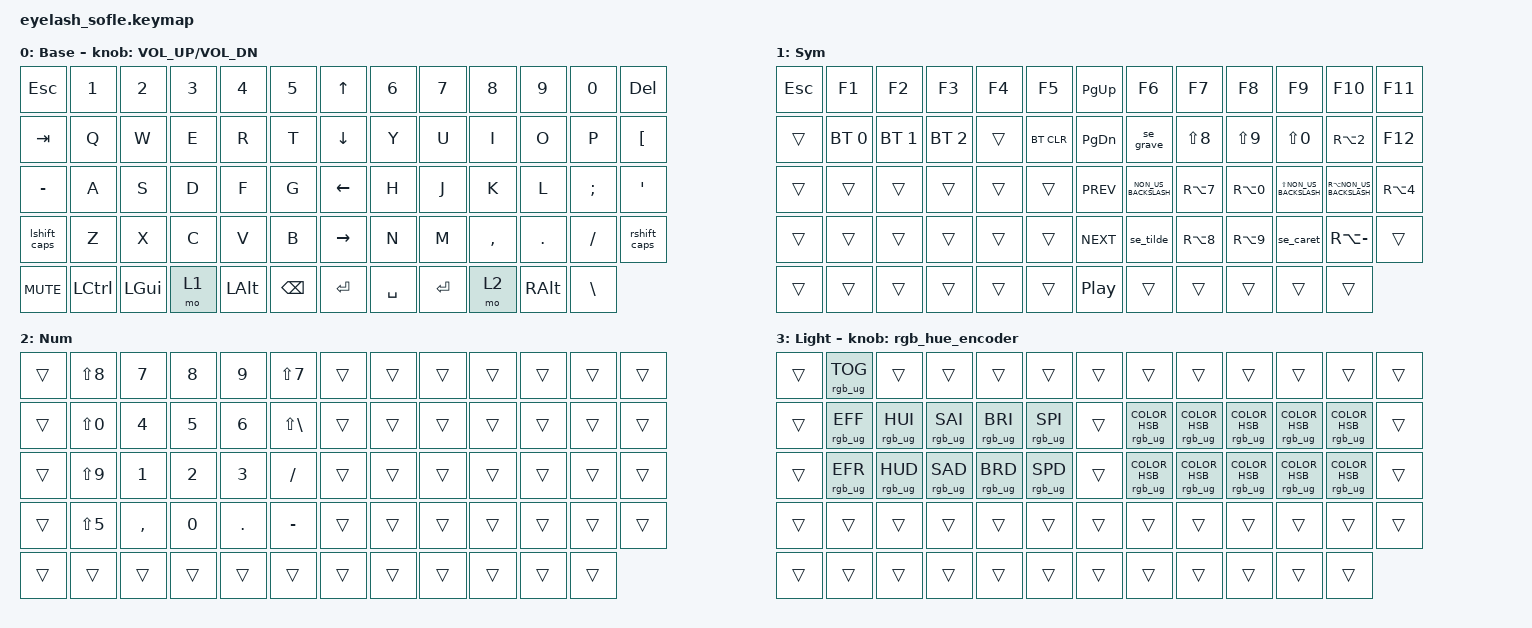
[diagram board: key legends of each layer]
#define ZMK_POINTING_DEFAULT_MOVE_VAL 1200  // 600
#define ZMK_POINTING_DEFAULT_SCRL_VAL 25   // 10

#include <input/processors.dtsi>
#include <zephyr/dt-bindings/input/input-event-codes.h>
#include <behaviors.dtsi>
#include <dt-bindings/zmk/bt.h>
#include <dt-bindings/zmk/keys.h>
#include <dt-bindings/zmk/pointing.h>
#include <dt-bindings/zmk/rgb.h>

// Swedish layout aliases (host OS set to Swedish, Windows/Linux AltGr mappings).
// ZMK sends US HID positions; these name the character the Swedish layout produces.
#define SE_PLUS       MINUS
#define SE_MINUS      SLASH
#define SE_STAR       LS(BACKSLASH)          // same key as ' on base
#define SE_SLASH      LS(N7)
#define SE_EQL        LS(N0)
#define SE_PRCNT      LS(N5)
#define SE_LPAR       LS(N8)
#define SE_RPAR       LS(N9)
#define SE_AT         RA(N2)
#define SE_DLR        RA(N4)
#define SE_LBRC       RA(N7)
#define SE_LBKT       RA(N8)
#define SE_RBKT       RA(N9)
#define SE_RBRC       RA(N0)
#define SE_BSLH       RA(MINUS)
#define SE_LT         NON_US_BACKSLASH
#define SE_GT         LS(NON_US_BACKSLASH)
#define SE_PIPE       RA(NON_US_BACKSLASH)
#define SE_DEAD_TILDE RA(RIGHT_BRACKET)
#define SE_DEAD_CARET LS(RIGHT_BRACKET)
#define SE_DEAD_GRAVE LS(EQUAL)

&mmv_input_listener { input-processors = <&zip_xy_scaler 2 1>; };

&msc_input_listener { input-processors = <&zip_scroll_scaler 2 1>; };

&msc {
    acceleration-exponent = <1>;      // 0
    time-to-max-speed-ms = <100>;     // 300
    delay-ms = <0>;                   // 0
};

&mmv {
    time-to-max-speed-ms = <500>;
    acceleration-exponent = <1>;
    trigger-period-ms = <16>;
};

&soft_off { hold-time-ms = <2000>; };

/ {
    scroll_encoder: scroll_encoder {
        compatible = "zmk,behavior-sensor-rotate";
        #sensor-binding-cells = <0>;
        bindings = <&msc SCRL_DOWN>, <&msc SCRL_UP>;

        tap-ms = <100>;
    };

    // Encoder on the Light layer: turn to sweep hue
    rgb_hue_encoder: rgb_hue_encoder {
        compatible = "zmk,behavior-sensor-rotate";
        #sensor-binding-cells = <0>;
        bindings = <&rgb_ug RGB_HUI>, <&rgb_ug RGB_HUD>;
    };

    // Hold Sym (1) + Num (2) together to reach the Light layer (3)
    conditional_layers {
        compatible = "zmk,conditional-layers";

        light {
            if-layers = <1 2>;
            then-layer = <3>;
        };
    };

    behaviors {
        lshift_caps: lshift_or_caps_lock {
            // Tap/hold = Left Shift, double tap = toggle Caps Lock

            compatible = "zmk,behavior-tap-dance";
            #binding-cells = <0>;
            tapping-term-ms = <200>;
            bindings = <&kp LSHFT>, <&kp CAPS>;
        };

        rshift_caps: rshift_or_caps_lock {
            // Tap/hold = Right Shift, double tap = toggle Caps Lock

            compatible = "zmk,behavior-tap-dance";
            #binding-cells = <0>;
            tapping-term-ms = <200>;
            bindings = <&kp RSHIFT>, <&kp CAPS>;
        };
    };

    combos {
        compatible = "zmk,combos";

        softoff {
            bindings = <&soft_off>;
            key-positions = <14 28 40>; // Keys Q, S, Z
        };
    };

    macros {
        // Swedish dead keys: tap the dead key, then space, to get the bare character
        se_tilde: se_tilde {
            compatible = "zmk,behavior-macro";
            #binding-cells = <0>;
            bindings = <&macro_tap &kp SE_DEAD_TILDE &kp SPACE>;
        };

        se_caret: se_caret {
            compatible = "zmk,behavior-macro";
            #binding-cells = <0>;
            bindings = <&macro_tap &kp SE_DEAD_CARET &kp SPACE>;
        };

        se_grave: se_grave {
            compatible = "zmk,behavior-macro";
            #binding-cells = <0>;
            bindings = <&macro_tap &kp SE_DEAD_GRAVE &kp SPACE>;
        };
    };

    // Bottom left key is the encoder click
    // Column 7 (middle column) is the joystick from the right half

    keymap {
        compatible = "zmk,keymap";

        Base {
            bindings = <
&kp ESC     &kp N1     &kp N2    &kp N3  &kp N4    &kp N5      &kp UP     &kp N6     &kp N7     &kp N8     &kp N9         &kp N0         &kp DEL
&kp TAB     &kp Q      &kp W     &kp E   &kp R     &kp T       &kp DOWN   &kp Y      &kp U      &kp I      &kp O          &kp P          &kp LEFT_BRACKET
&kp MINUS   &kp A      &kp S     &kp D   &kp F     &kp G       &kp LEFT   &kp H      &kp J      &kp K      &kp L          &kp SEMI       &kp APOS
&lshift_caps  &kp Z      &kp X     &kp C   &kp V     &kp B       &kp RIGHT  &kp N      &kp M      &kp COMMA  &kp DOT        &kp SLASH      &rshift_caps
&kp C_MUTE  &kp LCTRL  &kp LGUI  &mo 1   &kp LALT  &kp BSPC    &kp ENTER  &kp SPACE  &kp ENTER  &mo 2      &kp RIGHT_ALT  &kp BACKSLASH
            >;

            sensor-bindings = <&inc_dec_kp C_VOLUME_UP C_VOL_DN>;
            display-name = "Base";
        };

        Function {
            bindings = <
&kp ESC  &kp F1        &kp F2        &kp F3        &kp F4  &kp F5      &kp PG_UP   &kp F6       &kp F7       &kp F8       &kp F9       &kp F10      &kp F11
&trans   &bt BT_SEL 0  &bt BT_SEL 1  &bt BT_SEL 2  &trans  &bt BT_CLR  &kp PG_DN   &se_grave    &kp SE_LPAR  &kp SE_RPAR  &kp SE_EQL   &kp SE_AT    &kp F12
&trans   &trans        &trans        &trans        &trans  &trans      &kp C_PREV  &kp SE_LT    &kp SE_LBRC  &kp SE_RBRC  &kp SE_GT    &kp SE_PIPE  &kp SE_DLR
&trans   &trans        &trans        &trans        &trans  &trans      &kp C_NEXT  &se_tilde    &kp SE_LBKT  &kp SE_RBKT  &se_caret    &kp SE_BSLH  &trans
&trans   &trans        &trans        &trans        &trans  &trans      &kp C_PP    &trans       &trans       &trans       &trans       &trans
            >;

            display-name = "Sym";
        };

        layer_2 {
            bindings = <
&trans  &kp SE_LPAR   &kp N7     &kp N8  &kp N9   &kp SE_SLASH    &trans  &trans  &trans  &trans  &trans  &trans  &trans
&trans  &kp SE_EQL    &kp N4     &kp N5  &kp N6   &kp SE_STAR     &trans  &trans  &trans  &trans  &trans  &trans  &trans
&trans  &kp SE_RPAR   &kp N1     &kp N2  &kp N3   &kp SE_MINUS    &trans  &trans  &trans  &trans  &trans  &trans  &trans
&trans  &kp SE_PRCNT  &kp COMMA  &kp N0  &kp DOT  &kp SE_PLUS     &trans  &trans  &trans  &trans  &trans  &trans  &trans
&trans  &trans        &trans     &trans  &trans   &trans          &trans  &trans  &trans  &trans  &trans  &trans
            >;

            display-name = "Num";
        };

        // Light: reached by holding both Sym and Num.
        // Left: columns are parameters, top row = up, home row = down
        //   (effect, hue, saturation, brightness, speed). Encoder sweeps hue.
        // Right: colour presets (hue/sat only show in Solid and Breathe effects).
        Light {
            bindings = <
&trans  &rgb_ug RGB_TOG  &trans           &trans           &trans           &trans             &trans  &trans                         &trans                          &trans                          &trans                          &trans                         &trans
&trans  &rgb_ug RGB_EFF  &rgb_ug RGB_HUI  &rgb_ug RGB_SAI  &rgb_ug RGB_BRI  &rgb_ug RGB_SPI    &trans  &rgb_ug RGB_COLOR_HSB(0,100,60)    &rgb_ug RGB_COLOR_HSB(25,100,60)    &rgb_ug RGB_COLOR_HSB(55,100,60)    &rgb_ug RGB_COLOR_HSB(120,100,60)   &rgb_ug RGB_COLOR_HSB(180,100,60)  &trans
&trans  &rgb_ug RGB_EFR  &rgb_ug RGB_HUD  &rgb_ug RGB_SAD  &rgb_ug RGB_BRD  &rgb_ug RGB_SPD    &trans  &rgb_ug RGB_COLOR_HSB(230,100,60)  &rgb_ug RGB_COLOR_HSB(270,100,60)   &rgb_ug RGB_COLOR_HSB(300,100,60)   &rgb_ug RGB_COLOR_HSB(330,60,60)    &rgb_ug RGB_COLOR_HSB(0,0,60)      &trans
&trans  &trans           &trans           &trans           &trans           &trans             &trans  &trans                         &trans                          &trans                          &trans                          &trans                         &trans
&trans  &trans           &trans           &trans           &trans           &trans             &trans  &trans                         &trans                          &trans                          &trans                          &trans
            >;

            sensor-bindings = <&rgb_hue_encoder>;
            display-name = "Light";
        };
    };
};
